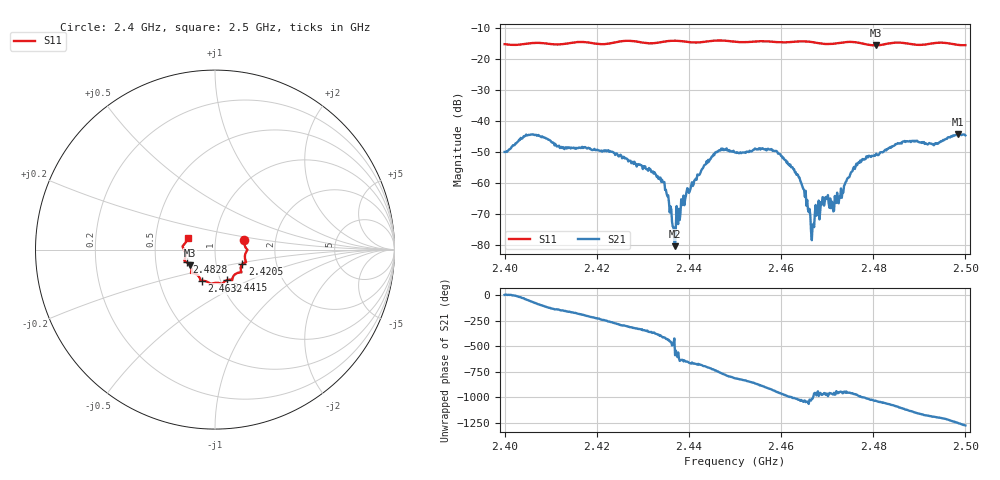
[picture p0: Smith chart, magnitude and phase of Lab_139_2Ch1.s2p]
# Hz S RI R 50
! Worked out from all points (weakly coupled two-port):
!   601 points, 2.4 GHz to 2.5 GHz, reference 50 ohm
!   highest |S21| = -44.28 dB at 2.4983 GHz (marker M1); lowest = -80.3 dB at 2.437 GHz (marker M2)
!   lowest |S11| = -15.7 dB at 2.4805 GHz (marker M3), VSWR 1.39, Z = 37.3 - j6.69 ohm
!   |S11| at or under -10 dB: start of sweep to end of sweep
!   S12 and S22 are empty: the file has one direction only
!   S11 on the Smith chart (normalised r, x): 2.4 GHz: 1.38, +0.15; 2.4205 GHz: 1.34, -0.23; 2.4415 GHz: 1.07, -0.38; 2.4632 GHz: 0.82, -0.29; 2.4828 GHz: 0.72, -0.10; 2.5 GHz: 0.73, +0.10
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2.4e9  0.1636 0.0516  0.00316 0.000136  0 0  0 0
2.405667e9  0.1781 0.00183  0.00293 -0.00527  0 0  0 0
2.416667e9  0.1729 -0.07  -0.00362 0.00063  0 0  0 0
2.4205e9  0.1522 -0.0817  -0.00212 0.00257  0 0  0 0
2.433333e9  0.1006 -0.1515  0.00102 -0.000597  0 0  0 0
2.435e9  0.0975 -0.1639  0.000287 -0.000726  0 0  0 0
2.437e9  0.0964 -0.1697  -6.31e-05 7.27e-05  0 0  0 0
2.4415e9  0.0655 -0.1706  0.000816 0.000845  0 0  0 0
2.446167e9  0.0412 -0.1926  0.00278 -0.00149  0 0  0 0
2.45e9  0.0245 -0.1864  -0.000319 -0.00308  0 0  0 0
2.458333e9  -0.0338 -0.1846  -0.00273 0.00188  0 0  0 0
2.463167e9  -0.0732 -0.1739  0.00064 0.00136  0 0  0 0
2.464833e9  -0.0794 -0.1733  0.000665 0.000446  0 0  0 0
2.466667e9  -0.0821 -0.1669  5.54e-05 0.000107  0 0  0 0
2.469167e9  -0.0919 -0.1479  -0.000206 0.000548  0 0  0 0
2.471333e9  -0.1122 -0.1338  -9.57e-05 0.000335  0 0  0 0
2.476167e9  -0.1334 -0.1273  -0.000484 0.00179  0 0  0 0
2.4805e9  -0.139 -0.0874  0.002 0.00203  0 0  0 0
2.482833e9  -0.1587 -0.0701  0.00319 0.00103  0 0  0 0
2.483333e9  -0.1626 -0.068  0.00357 0.000782  0 0  0 0
2.498333e9  -0.1621 0.0426  -0.00604 -0.00093  0 0  0 0
2.5e9  -0.1527 0.0645  -0.00558 0.00174  0 0  0 0
